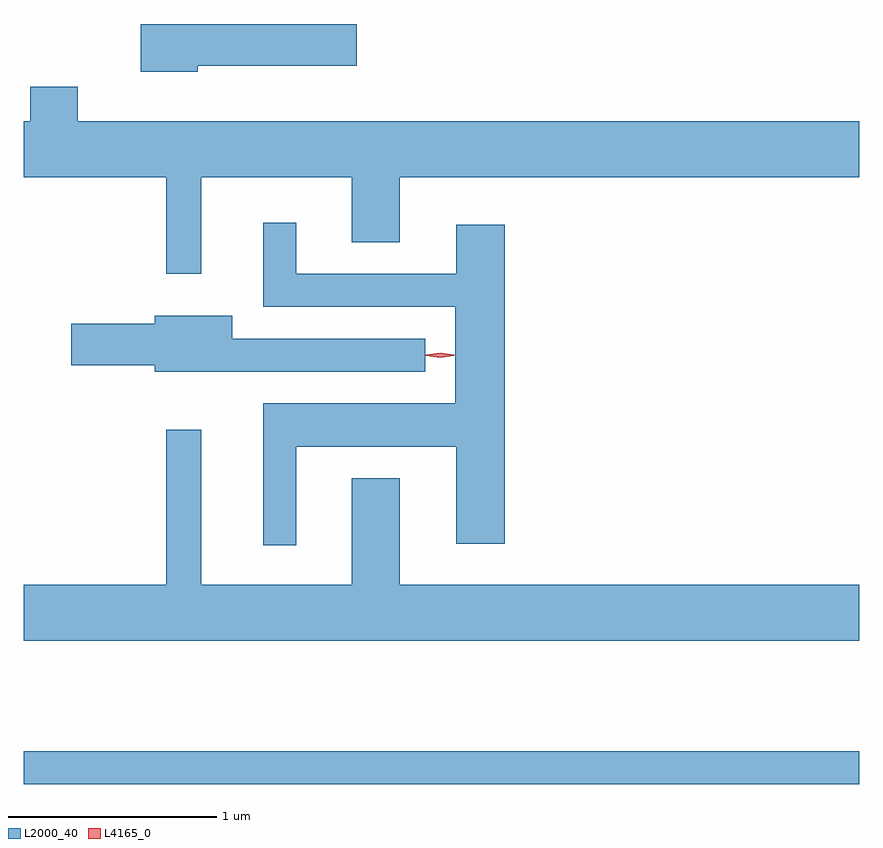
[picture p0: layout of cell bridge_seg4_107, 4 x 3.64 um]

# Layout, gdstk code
import gdstk
lib = gdstk.Library(unit=1e-6, precision=1e-09)
def R(c, l, rs):  # rectangles x0, y0, x1, y1
    for r in rs: c.add(gdstk.rectangle(r[:2], r[2:], *l))
def P(c, l, *ps):  # polygons
    for p in ps: c.add(gdstk.Polygon(p, *l))
L2000_40 = (2000, 40)
L4165_0 = (4165, 0)

bridge_seg4_107 = lib.new_cell('bridge_seg4_107')
R(bridge_seg4_107, L2000_40, [(879.19,1367.311,883.19,1367.469)])
P(bridge_seg4_107, L2000_40, [(880.024,1370.751),(880.784,1370.751),(880.784,1370.949),(880.024,1370.949),(880.024,1370.95),(879.751,1370.95),(879.751,1370.721),(880.024,1370.721)],
  [(880.039,1370.216),(880.761,1370.216),(880.761,1369.906),(880.989,1369.906),(880.989,1370.216),(883.19,1370.216),(883.19,1370.484),(879.449,1370.484),(879.449,1370.649),(879.221,1370.649),(879.221,1370.484),(879.19,1370.484),(879.19,1370.216),(879.871,1370.216),(879.871,1369.753),(880.039,1369.753)],
  [(880.494,1368.926),(881.261,1368.926),(881.261,1368.461),(881.494,1368.461),(881.494,1369.989),(881.261,1369.989),(881.261,1369.754),(880.494,1369.754),(880.494,1369.998),(880.336,1369.998),(880.336,1369.596),(881.256,1369.596),(881.256,1369.134),(880.336,1369.134),(880.336,1368.453),(880.494,1368.453)],
  [(881.113,1369.444),(880.189,1369.444),(880.189,1369.554),(879.816,1369.554),(879.816,1369.514),(879.416,1369.514),(879.416,1369.316),(879.816,1369.316),(879.816,1369.286),(881.113,1369.286)],
  [(883.19,1368.264),(880.989,1368.264),(880.989,1368.774),(880.761,1368.774),(880.761,1368.264),(880.039,1368.264),(880.039,1369.008),(879.871,1369.008),(879.871,1368.264),(879.19,1368.264),(879.19,1367.996),(883.19,1367.996)])
P(bridge_seg4_107, L4165_0, [(881.183,1369.355),(881.114,1369.364),(881.114,1369.365),(881.114,1369.366),(881.183,1369.375),(881.252,1369.366),(881.252,1369.365),(881.252,1369.364)],
  [(881.183,1369.353),(881.118,1369.362),(881.117,1369.363),(881.118,1369.363),(881.183,1369.373),(881.249,1369.363),(881.249,1369.363),(881.249,1369.362)])

lib.write_gds('bridge_seg4_107.gds')
